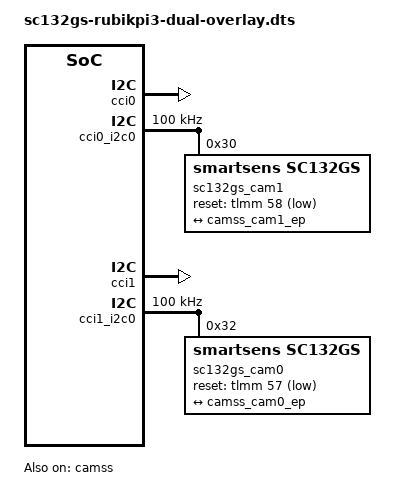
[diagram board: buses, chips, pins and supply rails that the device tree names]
/dts-v1/;
/plugin/;

/*
 * Verified GS130WI wiring on RUBIK Pi 3:
 *   camera 0: CCI1 master 0, address 0x32, reset GPIO57, CSIPHY1
 *   camera 1: CCI0 master 0, address 0x30, reset GPIO58, CSIPHY4
 * Both receivers use one CSI-2 data lane at 1200 Mbps total.
 */

&cci0 {
	status = "okay";
};

&cci0_i2c0 {
	#address-cells = <1>;
	#size-cells = <0>;
	clock-frequency = <100000>;

	sc132gs_cam1: camera@30 {
		compatible = "smartsens,sc132gs";
		reg = <0x30>;
		clocks = <&camcc 0x60>;
		clock-names = "xclk";
		pinctrl-names = "default", "sleep";
		pinctrl-0 = <&cam2_default>;
		pinctrl-1 = <&cam2_suspend>;
		reset-gpios = <&tlmm 58 1>;

		port {
			sc132gs_cam1_ep: endpoint {
				clock-lanes = <7>;
				data-lanes = <0>;
				link-frequencies = /bits/ 64 <600000000>;
				remote-endpoint = <&camss_cam1_ep>;
			};
		};
	};
};

&cci1 {
	status = "okay";
};

&cci1_i2c0 {
	#address-cells = <1>;
	#size-cells = <0>;
	clock-frequency = <100000>;

	sc132gs_cam0: camera@32 {
		compatible = "smartsens,sc132gs";
		reg = <0x32>;
		clocks = <&camcc 0x5c>;
		clock-names = "xclk";
		reset-gpios = <&tlmm 57 1>;

		port {
			sc132gs_cam0_ep: endpoint {
				clock-lanes = <7>;
				data-lanes = <0>;
				link-frequencies = /bits/ 64 <600000000>;
				remote-endpoint = <&camss_cam0_ep>;
			};
		};
	};
};

&camss {
	status = "okay";
	power-domain-names = "ife0", "ife1", "ife2", "top";
	clock-names = "camnoc_axi",
		"csi0", "csi1", "csi2", "csi3", "csi4",
		"csiphy0", "csiphy0_timer",
		"csiphy1", "csiphy1_timer",
		"csiphy2", "csiphy2_timer",
		"csiphy3", "csiphy3_timer",
		"csiphy4", "csiphy4_timer",
		"cpas_ahb", "gcc_camera_axi", "soc_ahb",
		"vfe0_axi", "vfe0", "vfe0_cphy_rx",
		"vfe1_axi", "vfe1", "vfe1_cphy_rx",
		"vfe2_axi", "vfe2", "vfe2_cphy_rx",
		"vfe0_lite", "vfe0_lite_cphy_rx",
		"vfe1_lite", "vfe1_lite_cphy_rx";
	vdda-phy-supply = <&vreg_l10c_0p88>;
	vdda-pll-supply = <&vreg_l6b_1p2>;

	ports {
		#address-cells = <1>;
		#size-cells = <0>;

		port@1 {
			reg = <1>;
			camss_cam0_ep: endpoint {
				clock-lanes = <7>;
				data-lanes = <0>;
				remote-endpoint = <&sc132gs_cam0_ep>;
			};
		};

		port@4 {
			reg = <4>;
			camss_cam1_ep: endpoint {
				clock-lanes = <7>;
				data-lanes = <0>;
				remote-endpoint = <&sc132gs_cam1_ep>;
			};
		};
	};
};
